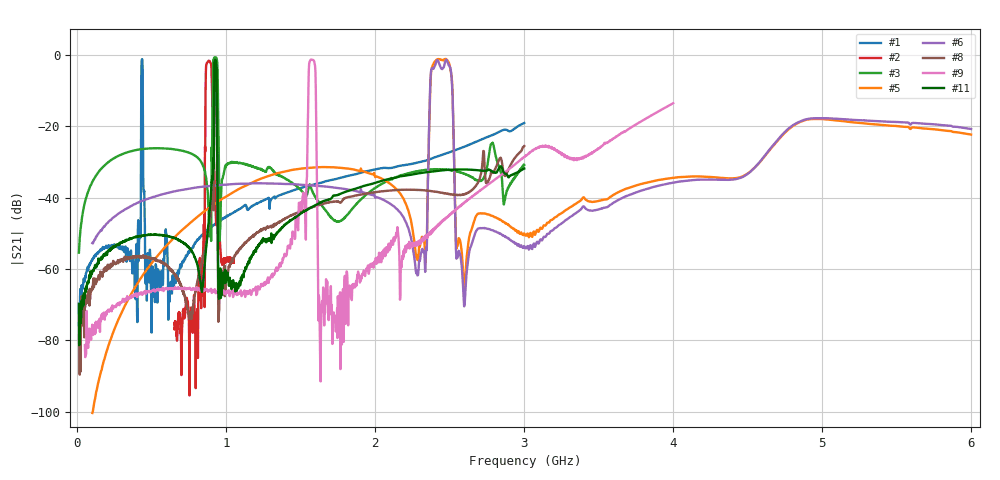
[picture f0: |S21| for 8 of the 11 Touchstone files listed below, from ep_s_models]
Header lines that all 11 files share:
! Matrix data file written by TouchstoneData, EPCOS AG
! port | pin | signal
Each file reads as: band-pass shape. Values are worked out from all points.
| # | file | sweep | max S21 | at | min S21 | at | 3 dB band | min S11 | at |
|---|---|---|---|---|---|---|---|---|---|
| 1 | B3900_WB.s2p | 10 MHz to 3 GHz | -1.15 dB | 434.2 MHz | -77.9 dB | 497.7 MHz | 430.5 MHz-436.1 MHz | -26.3 dB | 434.2 MHz |
| 2 | B3908_NB.s2p | 650 MHz to 1.05 GHz | -1.59 dB | 881.5 MHz | -95.5 dB | 752.5 MHz | 862.5 MHz-900 MHz | -27.5 dB | 868.5 MHz |
| 3 | B3916_WB.s2p | 10 MHz to 3 GHz | -0.62 dB | 927.6 MHz | -55.4 dB | 10 MHz | 910.7 MHz-938.8 MHz | -30.1 dB | 931.3 MHz |
| 4 | B3917_WB.s2p | 10 MHz to 1 GHz | -1.13 dB | 313.2 MHz | -106.8 dB | 394.9 MHz | 310.7 MHz-316.9 MHz | -29.5 dB | 315 MHz |
| 5 | B3918_WB.s2p | 100 MHz to 6 GHz | -1.09 dB | 2.471 GHz | -100.4 dB | 100 MHz | 2.379 GHz-2.504 GHz | -28.7 dB | 2.475 GHz |
| 6 | B3918_WB_UN.s2p | 100 MHz to 6 GHz | -1.32 dB | 2.475 GHz | -70.5 dB | 2.596 GHz | 2.375 GHz-2.504 GHz | -26.1 dB | 2.478 GHz |
| 7 | B3919_WB.s2p | 10 MHz to 1.2 GHz | -2.05 dB | 152.8 MHz | -100.7 dB | 626.4 MHz | 150.4 MHz-156.4 MHz | -38.6 dB | 155.2 MHz |
| 8 | B3921_WB.s2p | 10 MHz to 3 GHz | -1.37 dB | 925.7 MHz | -89.7 dB | 15.61 MHz | 920.1 MHz-933.2 MHz | -24.4 dB | 925.7 MHz |
| 9 | B3923_WB.s2p | 50 MHz to 4 GHz | -1.27 dB | 1.571 GHz | -91.5 dB | 1.632 GHz | 1.553 GHz-1.595 GHz | -36.7 dB | 1.566 GHz |
| 10 | B3925_WB.s2p | 10 MHz to 3 GHz | -1.64 dB | 434.2 MHz | -104.6 dB | 312.7 MHz | 432.3 MHz-436.1 MHz | -29.0 dB | 436.1 MHz |
| 11 | B3926_WB.s2p | 10 MHz to 3 GHz | -1.34 dB | 925.7 MHz | -81.4 dB | 11.87 MHz | 920.1 MHz-933.2 MHz | -26.1 dB | 922 MHz |
